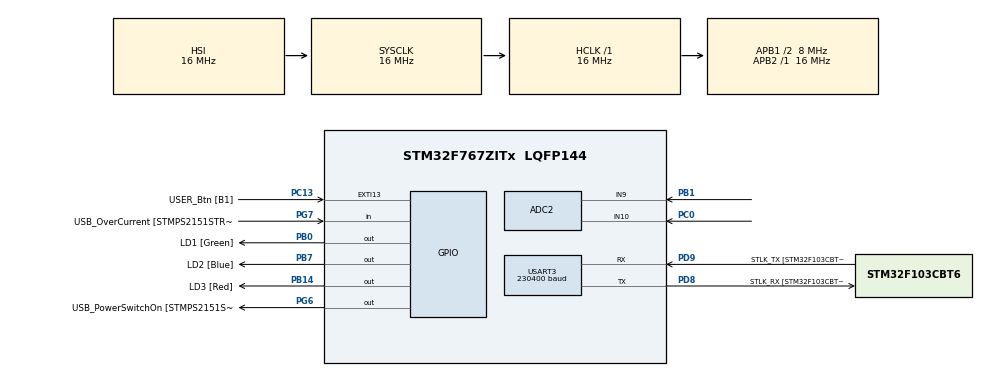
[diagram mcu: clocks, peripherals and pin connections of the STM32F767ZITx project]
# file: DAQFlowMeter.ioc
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ADC2.Channel-0\#ChannelRegularConversion=ADC_CHANNEL_10
ADC2.NbrOfConversionFlag=1
ADC2.Rank-0\#ChannelRegularConversion=1
ADC2.SamplingTime-0\#ChannelRegularConversion=ADC_SAMPLETIME_3CYCLES
FREERTOS.Tasks01=defaultTask,0,128,StartDefaultTask,Default,NULL,Dynamic,NULL,NULL;debugFlowMeter,-3,1024,debugFlowM,As weak,NULL,Dynamic,NULL,NULL
Mcu.Family=STM32F7
Mcu.Name=STM32F767ZITx
Mcu.Package=LQFP144
NVIC.PriorityGroup=NVIC_PRIORITYGROUP_4
NVIC.TIM1_UP_TIM10_IRQn=true\:15\:0\:false\:false\:true\:false\:false\:true\:true
NVIC.TimeBase=TIM1_UP_TIM10_IRQn
NVIC.TimeBaseIP=TIM1
PA1.GPIO_Label=RMII_REF_CLK [LAN8742A-CZ-TR_REFCLK0]
PA1.Signal=ETH_REF_CLK
PA10.GPIO_Label=USB_ID
PA10.Signal=USB_OTG_FS_ID
PA11.GPIO_Label=USB_DM
PA11.Signal=USB_OTG_FS_DM
PA12.GPIO_Label=USB_DP
PA12.Signal=USB_OTG_FS_DP
PA13.GPIO_Label=TMS
PA13.Signal=SYS_JTMS-SWDIO
PA14.GPIO_Label=TCK
PA14.Signal=SYS_JTCK-SWCLK
PA2.GPIO_Label=RMII_MDIO [LAN8742A-CZ-TR_MDIO]
PA2.Signal=ETH_MDIO
PA7.GPIO_Label=RMII_CRS_DV [LAN8742A-CZ-TR_CRS_DV]
PA7.Signal=ETH_CRS_DV
PA8.GPIO_Label=USB_SOF [TP1]
PA8.Signal=USB_OTG_FS_SOF
PA9.GPIO_Label=USB_VBUS
PA9.Signal=USB_OTG_FS_VBUS
PB0.GPIO_Label=LD1 [Green]
PB0.Signal=GPIO_Output
PB1.Signal=ADCx_IN9
PB13.GPIO_Label=RMII_TXD1 [LAN8742A-CZ-TR_TXD1]
PB13.Signal=ETH_TXD1
PB14.GPIO_Label=LD3 [Red]
PB14.Signal=GPIO_Output
PB3.GPIO_Label=SW0
PB3.Signal=SYS_JTDO-SWO
PB7.GPIO_Label=LD2 [Blue]
PB7.Signal=GPIO_Output
PC0.Signal=ADCx_IN10
PC1.GPIO_Label=RMII_MDC [LAN8742A-CZ-TR_MDC]
PC1.Signal=ETH_MDC
PC13.GPIO_Label=USER_Btn [B1]
PC13.Signal=GPXTI13
PC14/OSC32_IN.Signal=RCC_OSC32_IN
PC15/OSC32_OUT.Signal=RCC_OSC32_OUT
PC4.GPIO_Label=RMII_RXD0 [LAN8742A-CZ-TR_RXD0]
PC4.Signal=ETH_RXD0
PC5.GPIO_Label=RMII_RXD1 [LAN8742A-CZ-TR_RXD1]
PC5.Signal=ETH_RXD1
PD8.GPIO_Label=STLK_RX [STM32F103CBT6_PA3]
PD8.Mode=Asynchronous
PD8.Signal=USART3_TX
PD9.GPIO_Label=STLK_TX [STM32F103CBT6_PA2]
PD9.Mode=Asynchronous
PD9.Signal=USART3_RX
PG11.GPIO_Label=RMII_TX_EN [LAN8742A-CZ-TR_TXEN]
PG11.Signal=ETH_TX_EN
PG13.GPIO_Label=RMII_TXD0 [LAN8742A-CZ-TR_TXD0]
PG13.Signal=ETH_TXD0
PG6.GPIO_Label=USB_PowerSwitchOn [STMPS2151STR_EN]
PG6.Signal=GPIO_Output
PG7.GPIO_Label=USB_OverCurrent [STMPS2151STR_FAULT]
PG7.Signal=GPIO_Input
PH0/OSC_IN.GPIO_Label=MCO [STM32F103CBT6_PA8]
PH0/OSC_IN.Signal=RCC_OSC_IN
PH1/OSC_OUT.Signal=RCC_OSC_OUT
ProjectManager.HeapSize=0x200
ProjectManager.StackSize=0x400
ProjectManager.TargetToolchain=Makefile
RCC.48MHZClocksFreq_Value=24000000
RCC.AHBFreq_Value=16000000
RCC.APB1CLKDivider=RCC_HCLK_DIV2
RCC.APB1Freq_Value=8000000
RCC.APB1TimFreq_Value=16000000
RCC.APB2Freq_Value=16000000
RCC.APB2TimFreq_Value=16000000
RCC.CortexFreq_Value=16000000
RCC.HCLKFreq_Value=16000000
RCC.HSE_VALUE=16000000
RCC.HSI_VALUE=16000000
RCC.LSE_VALUE=32768
RCC.PLLMUL=RCC_PLL_MUL9
RCC.PRESCALERUSB=RCC_USBCLKSOURCE_PLL_DIV1_5
RCC.SYSCLKFreq_VALUE=16000000
RCC.SYSCLKSourceVirtual=RCC_SYSCLKSOURCE_PLLCLK
RCC.USBFreq_Value=96000000
RCC.VCOOutputFreq_Value=192000000
SH.ADCx_IN10.0=ADC2_IN10,IN10
SH.ADCx_IN9.0=ADC2_IN9,IN9
USART3.BaudRate=230400
USART3.VirtualMode-Asynchronous=VM_ASYNC
VP_FREERTOS_VS_CMSIS_V1.Mode=CMSIS_V1
VP_SYS_VS_tim1.Mode=TIM1
board=NUCLEO-F767ZI

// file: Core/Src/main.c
/* USER CODE BEGIN Header */
/**
  ******************************************************************************
  * @file           : main.c
  * @brief          : Main program body
  ******************************************************************************
  * @attention
  *
  * Copyright (c) 2024 STMicroelectronics.
  * All rights reserved.
  *
  * This software is licensed under terms that can be found in the LICENSE file
  * in the root directory of this software component.
  * If no LICENSE file comes with this software, it is provided AS-IS.
  *
  ******************************************************************************
  */
/* USER CODE END Header */
#include "main.h"
#include "cmsis_os.h"

ADC_HandleTypeDef hadc2;

UART_HandleTypeDef huart3;

osThreadId defaultTaskHandle;
osThreadId debugFlowMeterHandle;

void SystemClock_Config(void);
static void MX_GPIO_Init(void);
static void MX_ADC2_Init(void);
static void MX_USART3_UART_Init(void);
void StartDefaultTask(void const * argument);
void debugFlowM(void const * argument);

int main(void)
{

  /* MCU Configuration--------------------------------------------------------*/

  /* Reset of all peripherals, Initializes the Flash interface and the Systick. */
  HAL_Init();

  /* Configure the system clock */
  SystemClock_Config();

  /* Initialize all configured peripherals */
  MX_GPIO_Init();
  MX_ADC2_Init();
  MX_USART3_UART_Init();

  /* Create the thread(s) */
  /* definition and creation of defaultTask */
  osThreadDef(defaultTask, StartDefaultTask, osPriorityNormal, 0, 128);
  defaultTaskHandle = osThreadCreate(osThread(defaultTask), NULL);

  /* definition and creation of debugFlowMeter */
  osThreadDef(debugFlowMeter, debugFlowM, osPriorityIdle, 0, 1024);
  debugFlowMeterHandle = osThreadCreate(osThread(debugFlowMeter), NULL);

  /* Start scheduler */
  osKernelStart();

  /* We should never get here as control is now taken by the scheduler */
  /* Infinite loop */
  while (1)
  {

  }
}

void SystemClock_Config(void)
{
  RCC_OscInitTypeDef RCC_OscInitStruct = {0};
  RCC_ClkInitTypeDef RCC_ClkInitStruct = {0};

  /** Configure the main internal regulator output voltage
  */
  __HAL_RCC_PWR_CLK_ENABLE();
  __HAL_PWR_VOLTAGESCALING_CONFIG(PWR_REGULATOR_VOLTAGE_SCALE3);

  /** Initializes the RCC Oscillators according to the specified parameters
  * in the RCC_OscInitTypeDef structure.
  */
  RCC_OscInitStruct.OscillatorType = RCC_OSCILLATORTYPE_HSI;
  RCC_OscInitStruct.HSIState = RCC_HSI_ON;
  RCC_OscInitStruct.HSICalibrationValue = RCC_HSICALIBRATION_DEFAULT;
  RCC_OscInitStruct.PLL.PLLState = RCC_PLL_NONE;
  if (HAL_RCC_OscConfig(&RCC_OscInitStruct) != HAL_OK)
  {
    Error_Handler();
  }

  /** Initializes the CPU, AHB and APB buses clocks
  */
  RCC_ClkInitStruct.ClockType = RCC_CLOCKTYPE_HCLK|RCC_CLOCKTYPE_SYSCLK
                              |RCC_CLOCKTYPE_PCLK1|RCC_CLOCKTYPE_PCLK2;
  RCC_ClkInitStruct.SYSCLKSource = RCC_SYSCLKSOURCE_HSI;
  RCC_ClkInitStruct.AHBCLKDivider = RCC_SYSCLK_DIV1;
  RCC_ClkInitStruct.APB1CLKDivider = RCC_HCLK_DIV2;
  RCC_ClkInitStruct.APB2CLKDivider = RCC_HCLK_DIV1;

  if (HAL_RCC_ClockConfig(&RCC_ClkInitStruct, FLASH_LATENCY_0) != HAL_OK)
  {
    Error_Handler();
  }
}

static void MX_ADC2_Init(void)
{

  ADC_ChannelConfTypeDef sConfig = {0};

  /** Configure the global features of the ADC (Clock, Resolution, Data Alignment and number of conversion)
  */
  hadc2.Instance = ADC2;
  hadc2.Init.ClockPrescaler = ADC_CLOCK_SYNC_PCLK_DIV2;
  hadc2.Init.Resolution = ADC_RESOLUTION_12B;
  hadc2.Init.ScanConvMode = ADC_SCAN_DISABLE;
  hadc2.Init.ContinuousConvMode = DISABLE;
  hadc2.Init.DiscontinuousConvMode = DISABLE;
  hadc2.Init.ExternalTrigConvEdge = ADC_EXTERNALTRIGCONVEDGE_NONE;
  hadc2.Init.ExternalTrigConv = ADC_SOFTWARE_START;
  hadc2.Init.DataAlign = ADC_DATAALIGN_RIGHT;
  hadc2.Init.NbrOfConversion = 1;
  hadc2.Init.DMAContinuousRequests = DISABLE;
  hadc2.Init.EOCSelection = ADC_EOC_SINGLE_CONV;
  if (HAL_ADC_Init(&hadc2) != HAL_OK)
  {
    Error_Handler();
  }

  /** Configure for the selected ADC regular channel its corresponding rank in the sequencer and its sample time.
  */
  sConfig.Channel = ADC_CHANNEL_10;
  sConfig.Rank = ADC_REGULAR_RANK_1;
  sConfig.SamplingTime = ADC_SAMPLETIME_3CYCLES;
  if (HAL_ADC_ConfigChannel(&hadc2, &sConfig) != HAL_OK)
  {
    Error_Handler();
  }

}

static void MX_USART3_UART_Init(void)
{

  huart3.Instance = USART3;
  huart3.Init.BaudRate = 230400;
  huart3.Init.WordLength = UART_WORDLENGTH_8B;
  huart3.Init.StopBits = UART_STOPBITS_1;
  huart3.Init.Parity = UART_PARITY_NONE;
  huart3.Init.Mode = UART_MODE_TX_RX;
  huart3.Init.HwFlowCtl = UART_HWCONTROL_NONE;
  huart3.Init.OverSampling = UART_OVERSAMPLING_16;
  huart3.Init.OneBitSampling = UART_ONE_BIT_SAMPLE_DISABLE;
  huart3.AdvancedInit.AdvFeatureInit = UART_ADVFEATURE_NO_INIT;
  if (HAL_UART_Init(&huart3) != HAL_OK)
  {
    Error_Handler();
  }

}

static void MX_GPIO_Init(void)
{
  GPIO_InitTypeDef GPIO_InitStruct = {0};

  /* GPIO Ports Clock Enable */
  __HAL_RCC_GPIOC_CLK_ENABLE();
  __HAL_RCC_GPIOH_CLK_ENABLE();
  __HAL_RCC_GPIOA_CLK_ENABLE();
  __HAL_RCC_GPIOB_CLK_ENABLE();
  __HAL_RCC_GPIOD_CLK_ENABLE();
  __HAL_RCC_GPIOG_CLK_ENABLE();

  /*Configure GPIO pin Output Level */
  HAL_GPIO_WritePin(GPIOB, LD1_Pin|LD3_Pin|LD2_Pin, GPIO_PIN_RESET);

  /*Configure GPIO pin Output Level */
  HAL_GPIO_WritePin(USB_PowerSwitchOn_GPIO_Port, USB_PowerSwitchOn_Pin, GPIO_PIN_RESET);

  /*Configure GPIO pin : USER_Btn_Pin */
  GPIO_InitStruct.Pin = USER_Btn_Pin;
  GPIO_InitStruct.Mode = GPIO_MODE_IT_RISING;
  GPIO_InitStruct.Pull = GPIO_NOPULL;
  HAL_GPIO_Init(USER_Btn_GPIO_Port, &GPIO_InitStruct);

  /*Configure GPIO pins : RMII_MDC_Pin RMII_RXD0_Pin RMII_RXD1_Pin */
  GPIO_InitStruct.Pin = RMII_MDC_Pin|RMII_RXD0_Pin|RMII_RXD1_Pin;
  GPIO_InitStruct.Mode = GPIO_MODE_AF_PP;
  GPIO_InitStruct.Pull = GPIO_NOPULL;
  GPIO_InitStruct.Speed = GPIO_SPEED_FREQ_VERY_HIGH;
  GPIO_InitStruct.Alternate = GPIO_AF11_ETH;
  HAL_GPIO_Init(GPIOC, &GPIO_InitStruct);

  /*Configure GPIO pins : RMII_REF_CLK_Pin RMII_MDIO_Pin RMII_CRS_DV_Pin */
  GPIO_InitStruct.Pin = RMII_REF_CLK_Pin|RMII_MDIO_Pin|RMII_CRS_DV_Pin;
  GPIO_InitStruct.Mode = GPIO_MODE_AF_PP;
  GPIO_InitStruct.Pull = GPIO_NOPULL;
  GPIO_InitStruct.Speed = GPIO_SPEED_FREQ_VERY_HIGH;
  GPIO_InitStruct.Alternate = GPIO_AF11_ETH;
  HAL_GPIO_Init(GPIOA, &GPIO_InitStruct);

  /*Configure GPIO pins : LD1_Pin LD3_Pin LD2_Pin */
  GPIO_InitStruct.Pin = LD1_Pin|LD3_Pin|LD2_Pin;
  GPIO_InitStruct.Mode = GPIO_MODE_OUTPUT_PP;
  GPIO_InitStruct.Pull = GPIO_NOPULL;
  GPIO_InitStruct.Speed = GPIO_SPEED_FREQ_LOW;
  HAL_GPIO_Init(GPIOB, &GPIO_InitStruct);

  /*Configure GPIO pin : RMII_TXD1_Pin */
  GPIO_InitStruct.Pin = RMII_TXD1_Pin;
  GPIO_InitStruct.Mode = GPIO_MODE_AF_PP;
  GPIO_InitStruct.Pull = GPIO_NOPULL;
  GPIO_InitStruct.Speed = GPIO_SPEED_FREQ_VERY_HIGH;
  GPIO_InitStruct.Alternate = GPIO_AF11_ETH;
  HAL_GPIO_Init(RMII_TXD1_GPIO_Port, &GPIO_InitStruct);

  /*Configure GPIO pin : USB_PowerSwitchOn_Pin */
  GPIO_InitStruct.Pin = USB_PowerSwitchOn_Pin;
  GPIO_InitStruct.Mode = GPIO_MODE_OUTPUT_PP;
  GPIO_InitStruct.Pull = GPIO_NOPULL;
  GPIO_InitStruct.Speed = GPIO_SPEED_FREQ_LOW;
  HAL_GPIO_Init(USB_PowerSwitchOn_GPIO_Port, &GPIO_InitStruct);

  /*Configure GPIO pin : USB_OverCurrent_Pin */
  GPIO_InitStruct.Pin = USB_OverCurrent_Pin;
  GPIO_InitStruct.Mode = GPIO_MODE_INPUT;
  GPIO_InitStruct.Pull = GPIO_NOPULL;
  HAL_GPIO_Init(USB_OverCurrent_GPIO_Port, &GPIO_InitStruct);

  /*Configure GPIO pins : USB_SOF_Pin USB_ID_Pin USB_DM_Pin USB_DP_Pin */
  GPIO_InitStruct.Pin = USB_SOF_Pin|USB_ID_Pin|USB_DM_Pin|USB_DP_Pin;
  GPIO_InitStruct.Mode = GPIO_MODE_AF_PP;
  GPIO_InitStruct.Pull = GPIO_NOPULL;
  GPIO_InitStruct.Speed = GPIO_SPEED_FREQ_VERY_HIGH;
  GPIO_InitStruct.Alternate = GPIO_AF10_OTG_FS;
  HAL_GPIO_Init(GPIOA, &GPIO_InitStruct);

  /*Configure GPIO pin : USB_VBUS_Pin */
  GPIO_InitStruct.Pin = USB_VBUS_Pin;
  GPIO_InitStruct.Mode = GPIO_MODE_INPUT;
  GPIO_InitStruct.Pull = GPIO_NOPULL;
  HAL_GPIO_Init(USB_VBUS_GPIO_Port, &GPIO_InitStruct);

  /*Configure GPIO pins : RMII_TX_EN_Pin RMII_TXD0_Pin */
  GPIO_InitStruct.Pin = RMII_TX_EN_Pin|RMII_TXD0_Pin;
  GPIO_InitStruct.Mode = GPIO_MODE_AF_PP;
  GPIO_InitStruct.Pull = GPIO_NOPULL;
  GPIO_InitStruct.Speed = GPIO_SPEED_FREQ_VERY_HIGH;
  GPIO_InitStruct.Alternate = GPIO_AF11_ETH;
  HAL_GPIO_Init(GPIOG, &GPIO_InitStruct);

}

void StartDefaultTask(void const * argument)
{
  for(;;)
  {
    osDelay(1);
  }
}

__weak void debugFlowM(void const * argument)
{
  /* USER CODE BEGIN debugFlowM */
  #define FLOW_CALIBRATION_FACTOR 11
  #define FLOWF_MIN_VOLT 5
  #define FLOWF_MAX_VOLT 15

  #define FLOWT_MIN_VOLT 5
  #define FLOWT_MAX_VOLT 15

  uint16_t raw;
  char msg[30];

  /* Infinite loop after establishing connection with sensor */
  for(;;)
  {
    // start ADC polling
    HAL_ADC_Start(&hadc2);

    // get raw values from ADC
    HAL_ADC_PollForConversion(&hadc2, HAL_MAX_DELAY);
    raw = HAL_ADC_GetValue(&hadc2);

    // stop ADC polling
    HAL_ADC_Stop(&hadc2);

    // send raw values to debug console
    sprintf(msg, "ADC2(Ch10)= %hu\r\n", raw);
    HAL_UART_Transmit(&huart3, (uint8_t*)msg, strlen(msg), HAL_MAX_DELAY);

    // convert raw values to flow rate
    float flow = FLOW_CALIBRATION_FACTOR*(raw - FLOWF_MIN_VOLT)/(FLOWF_MAX_VOLT - FLOWF_MIN_VOLT);

    //signal filtering

    osDelay(300); // delay may not be necessary
  }

  /* USER CODE END debugFlowM */
}

void HAL_TIM_PeriodElapsedCallback(TIM_HandleTypeDef *htim)
{
  if (htim->Instance == TIM1) {
    HAL_IncTick();
  }
}

void Error_Handler(void)
{
  __disable_irq();
  while (1)
  {
  }
}
